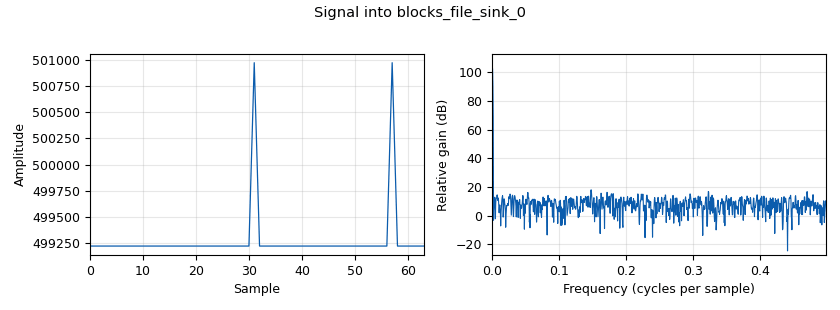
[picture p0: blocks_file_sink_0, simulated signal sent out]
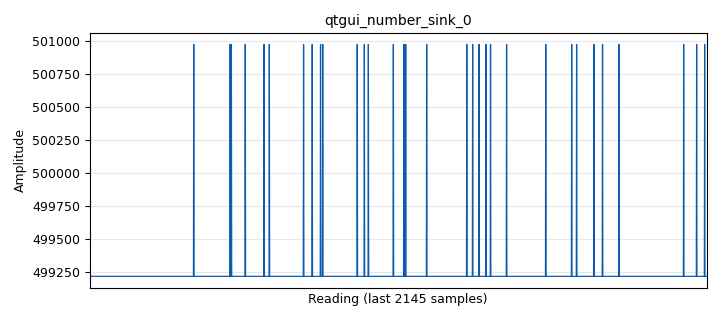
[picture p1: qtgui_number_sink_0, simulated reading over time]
<?xml version='1.0' encoding='utf-8'?>
<?grc format='1' created='3.7.9'?>
<flow_graph>
<block>
<key>options</key>
<param><key>id</key><value>top_block</value></param>
<param><key>category</key><value>Custom</value></param>
<param><key>generate_options</key><value>qt_gui</value></param>
</block>
<block>
<key>variable</key>
<param><key>id</key><value>fft_size</value></param>
<param><key>value</key><value>1024</value></param>
</block>
<block>
<key>variable_qtgui_range</key>
<param><key>id</key><value>freq</value></param>
<param><key>value</key><value>500000</value></param>
<param><key>orient</key><value>Qt.Horizontal</value></param>
<param><key>start</key><value>0</value></param>
<param><key>step</key><value>1</value></param>
<param><key>stop</key><value>500000</value></param>
</block>
<block>
<key>variable_slider</key>
<param><key>id</key><value>freq</value></param>
<param><key>converver</key><value>float_converter</value></param>
<param><key>value</key><value>50</value></param>
<param><key>_enabled</key><value>0</value></param>
<param><key>label</key><value></value></param>
<param><key>max</key><value>100</value></param>
<param><key>min</key><value>0</value></param>
<param><key>num_steps</key><value>100</value></param>
<param><key>style</key><value>wx.SL_HORIZONTAL</value></param>
</block>
<block>
<key>variable</key>
<param><key>id</key><value>samp_rate</value></param>
<param><key>value</key><value>1.8e6</value></param>
</block>
<block>
<key>variable_qtgui_range</key>
<param><key>id</key><value>variable_qtgui_range_0</value></param>
<param><key>value</key><value>1024</value></param>
<param><key>_enabled</key><value>0</value></param>
<param><key>label</key><value>fft_size</value></param>
<param><key>orient</key><value>Qt.Horizontal</value></param>
<param><key>start</key><value>0</value></param>
<param><key>step</key><value>1</value></param>
<param><key>stop</key><value>2048</value></param>
</block>
<block>
<key>analog_noise_source_x</key>
<param><key>id</key><value>analog_noise_source_x_0</value></param>
<param><key>amp</key><value>1</value></param>
<param><key>noise_type</key><value>analog.GR_GAUSSIAN</value></param>
<param><key>type</key><value>complex</value></param>
<param><key>seed</key><value>0</value></param>
</block>
<block>
<key>analog_sig_source_x</key>
<param><key>id</key><value>analog_sig_source_x_0</value></param>
<param><key>amp</key><value>1</value></param>
<param><key>freq</key><value>freq</value></param>
<param><key>offset</key><value>0</value></param>
<param><key>type</key><value>complex</value></param>
<param><key>samp_rate</key><value>samp_rate</value></param>
<param><key>waveform</key><value>analog.GR_COS_WAVE</value></param>
</block>
<block>
<key>blocks_add_xx</key>
<param><key>id</key><value>blocks_add_xx_0</value></param>
<param><key>type</key><value>complex</value></param>
</block>
<block>
<key>blocks_argmax_xx</key>
<param><key>id</key><value>blocks_argmax_xx_0</value></param>
<param><key>type</key><value>float</value></param>
<param><key>num_inputs</key><value>1</value></param>
<param><key>vlen</key><value>fft_size</value></param>
</block>
<block>
<key>blocks_complex_to_mag_squared</key>
<param><key>id</key><value>blocks_complex_to_mag_squared_0</value></param>
<param><key>_enabled</key><value>0</value></param>
<param><key>vlen</key><value>fft_size</value></param>
</block>
<block>
<key>blocks_file_sink</key>
<param><key>id</key><value>blocks_file_sink_0</value></param>
<param><key>file</key><value>/home/aa274/Documents/payload-documentation/test.bin</value></param>
<param><key>type</key><value>float</value></param>
</block>
<block>
<key>blocks_null_sink</key>
<param><key>id</key><value>blocks_null_sink_0</value></param>
<param><key>bus_conns</key><value>[[0,],]</value></param>
<param><key>type</key><value>short</value></param>
</block>
<block>
<key>blocks_short_to_float</key>
<param><key>id</key><value>blocks_short_to_float_0</value></param>
<param><key>scale</key><value>float(fft_size/samp_rate)</value></param>
</block>
<block>
<key>blocks_stream_to_vector</key>
<param><key>id</key><value>blocks_stream_to_vector_0</value></param>
<param><key>_enabled</key><value>0</value></param>
<param><key>type</key><value>complex</value></param>
<param><key>num_items</key><value>fft_size</value></param>
</block>
<block>
<key>fft_vxx</key>
<param><key>id</key><value>fft_vxx_0</value></param>
<param><key>_enabled</key><value>0</value></param>
<param><key>fft_size</key><value>1024</value></param>
<param><key>forward</key><value>True</value></param>
<param><key>type</key><value>complex</value></param>
<param><key>shift</key><value>True</value></param>
<param><key>window</key><value>window.blackmanharris(1024)</value></param>
</block>
<block>
<key>fft_vxx</key>
<param><key>id</key><value>fft_vxx_1</value></param>
<param><key>_enabled</key><value>0</value></param>
<param><key>fft_size</key><value>fft_size</value></param>
<param><key>forward</key><value>True</value></param>
<param><key>type</key><value>complex</value></param>
<param><key>shift</key><value>True</value></param>
<param><key>window</key><value>window.blackmanharris(1024)</value></param>
</block>
<block>
<key>logpwrfft_x</key>
<param><key>id</key><value>logpwrfft_x_0</value></param>
<param><key>avg_alpha</key><value>1.0</value></param>
<param><key>average</key><value>False</value></param>
<param><key>fft_size</key><value>fft_size</value></param>
<param><key>frame_rate</key><value>30</value></param>
<param><key>type</key><value>complex</value></param>
<param><key>ref_scale</key><value>2</value></param>
<param><key>sample_rate</key><value>samp_rate</value></param>
</block>
<block>
<key>osmosdr_source</key>
<param><key>id</key><value>osmosdr_source_0</value></param>
<param><key>bb_gain0</key><value>20</value></param>
<param><key>freq0</key><value>90.1e6</value></param>
<param><key>gain_mode0</key><value>False</value></param>
<param><key>if_gain0</key><value>20</value></param>
<param><key>gain0</key><value>10</value></param>
<param><key>args</key><value>rtl=0</value></param>
<param><key>_enabled</key><value>0</value></param>
<param><key>type</key><value>fc32</value></param>
<param><key>sample_rate</key><value>samp_rate</value></param>
<param><key>sync</key><value></value></param>
</block>
<block>
<key>qtgui_number_sink</key>
<param><key>id</key><value>qtgui_number_sink_0</value></param>
<param><key>graph_type</key><value>qtgui.NUM_GRAPH_HORIZ</value></param>
<param><key>type</key><value>float</value></param>
</block>
<block>
<key>qtgui_sink_x</key>
<param><key>id</key><value>qtgui_sink_x_0</value></param>
<param><key>bw</key><value>samp_rate</value></param>
<param><key>fc</key><value>0</value></param>
<param><key>freqchangevar</key><value>None</value></param>
<param><key>_enabled</key><value>0</value></param>
<param><key>fftsize</key><value>1024</value></param>
<param><key>showports</key><value>True</value></param>
<param><key>type</key><value>complex</value></param>
<param><key>wintype</key><value>firdes.WIN_BLACKMAN_hARRIS</value></param>
</block>
<block>
<key>qtgui_vector_sink_f</key>
<param><key>id</key><value>qtgui_vector_sink_f_0</value></param>
<param><key>_enabled</key><value>0</value></param>
<param><key>showports</key><value>True</value></param>
<param><key>vlen</key><value>1024</value></param>
<param><key>x_start</key><value>0</value></param>
<param><key>x_step</key><value>1.0</value></param>
<param><key>ymax</key><value>5000</value></param>
<param><key>ymin</key><value>-10</value></param>
</block>
<block>
<key>qtgui_vector_sink_f</key>
<param><key>id</key><value>qtgui_vector_sink_f_0_0</value></param>
<param><key>_enabled</key><value>0</value></param>
<param><key>showports</key><value>True</value></param>
<param><key>vlen</key><value>1024</value></param>
<param><key>x_start</key><value>0</value></param>
<param><key>x_step</key><value>1.0</value></param>
<param><key>ymax</key><value>50</value></param>
<param><key>ymin</key><value>-100</value></param>
</block>
<block>
<key>rtlsdr_source</key>
<param><key>id</key><value>rtlsdr_source_0</value></param>
<param><key>bb_gain0</key><value>20</value></param>
<param><key>freq0</key><value>90.1e6</value></param>
<param><key>gain_mode0</key><value>False</value></param>
<param><key>if_gain0</key><value>20</value></param>
<param><key>gain0</key><value>10</value></param>
<param><key>args</key><value>rtl=0</value></param>
<param><key>_enabled</key><value>0</value></param>
<param><key>type</key><value>fc32</value></param>
<param><key>sample_rate</key><value>samp_rate</value></param>
<param><key>sync</key><value></value></param>
</block>
<block>
<key>wxgui_fftsink2</key>
<param><key>id</key><value>wxgui_fftsink2_0</value></param>
<param><key>avg_alpha</key><value>0</value></param>
<param><key>average</key><value>False</value></param>
<param><key>baseband_freq</key><value>0</value></param>
<param><key>_enabled</key><value>0</value></param>
<param><key>fft_size</key><value>1024</value></param>
<param><key>freqvar</key><value>None</value></param>
<param><key>peak_hold</key><value>True</value></param>
<param><key>ref_level</key><value>0</value></param>
<param><key>ref_scale</key><value>2.0</value></param>
<param><key>fft_rate</key><value>15</value></param>
<param><key>samp_rate</key><value>samp_rate</value></param>
<param><key>title</key><value>FFT Plot</value></param>
<param><key>type</key><value>complex</value></param>
<param><key>win</key><value>None</value></param>
<param><key>y_divs</key><value>10</value></param>
<param><key>y_per_div</key><value>10</value></param>
</block>
<connection><source_block_id>analog_noise_source_x_0</source_block_id><sink_block_id>blocks_add_xx_0</sink_block_id><source_key>0</source_key><sink_key>1</sink_key></connection>
<connection><source_block_id>analog_sig_source_x_0</source_block_id><sink_block_id>blocks_add_xx_0</sink_block_id><source_key>0</source_key><sink_key>0</sink_key></connection>
<connection><source_block_id>blocks_add_xx_0</source_block_id><sink_block_id>blocks_stream_to_vector_0</sink_block_id><source_key>0</source_key><sink_key>0</sink_key></connection>
<connection><source_block_id>blocks_add_xx_0</source_block_id><sink_block_id>logpwrfft_x_0</sink_block_id><source_key>0</source_key><sink_key>0</sink_key></connection>
<connection><source_block_id>blocks_argmax_xx_0</source_block_id><sink_block_id>blocks_null_sink_0</sink_block_id><source_key>1</source_key><sink_key>0</sink_key></connection>
<connection><source_block_id>blocks_argmax_xx_0</source_block_id><sink_block_id>blocks_short_to_float_0</sink_block_id><source_key>0</source_key><sink_key>0</sink_key></connection>
<connection><source_block_id>blocks_complex_to_mag_squared_0</source_block_id><sink_block_id>qtgui_vector_sink_f_0</sink_block_id><source_key>0</source_key><sink_key>0</sink_key></connection>
<connection><source_block_id>blocks_short_to_float_0</source_block_id><sink_block_id>blocks_file_sink_0</sink_block_id><source_key>0</source_key><sink_key>0</sink_key></connection>
<connection><source_block_id>blocks_short_to_float_0</source_block_id><sink_block_id>qtgui_number_sink_0</sink_block_id><source_key>0</source_key><sink_key>0</sink_key></connection>
<connection><source_block_id>blocks_stream_to_vector_0</source_block_id><sink_block_id>fft_vxx_1</sink_block_id><source_key>0</source_key><sink_key>0</sink_key></connection>
<connection><source_block_id>fft_vxx_1</source_block_id><sink_block_id>blocks_complex_to_mag_squared_0</sink_block_id><source_key>0</source_key><sink_key>0</sink_key></connection>
<connection><source_block_id>logpwrfft_x_0</source_block_id><sink_block_id>blocks_argmax_xx_0</sink_block_id><source_key>0</source_key><sink_key>0</sink_key></connection>
</flow_graph>
